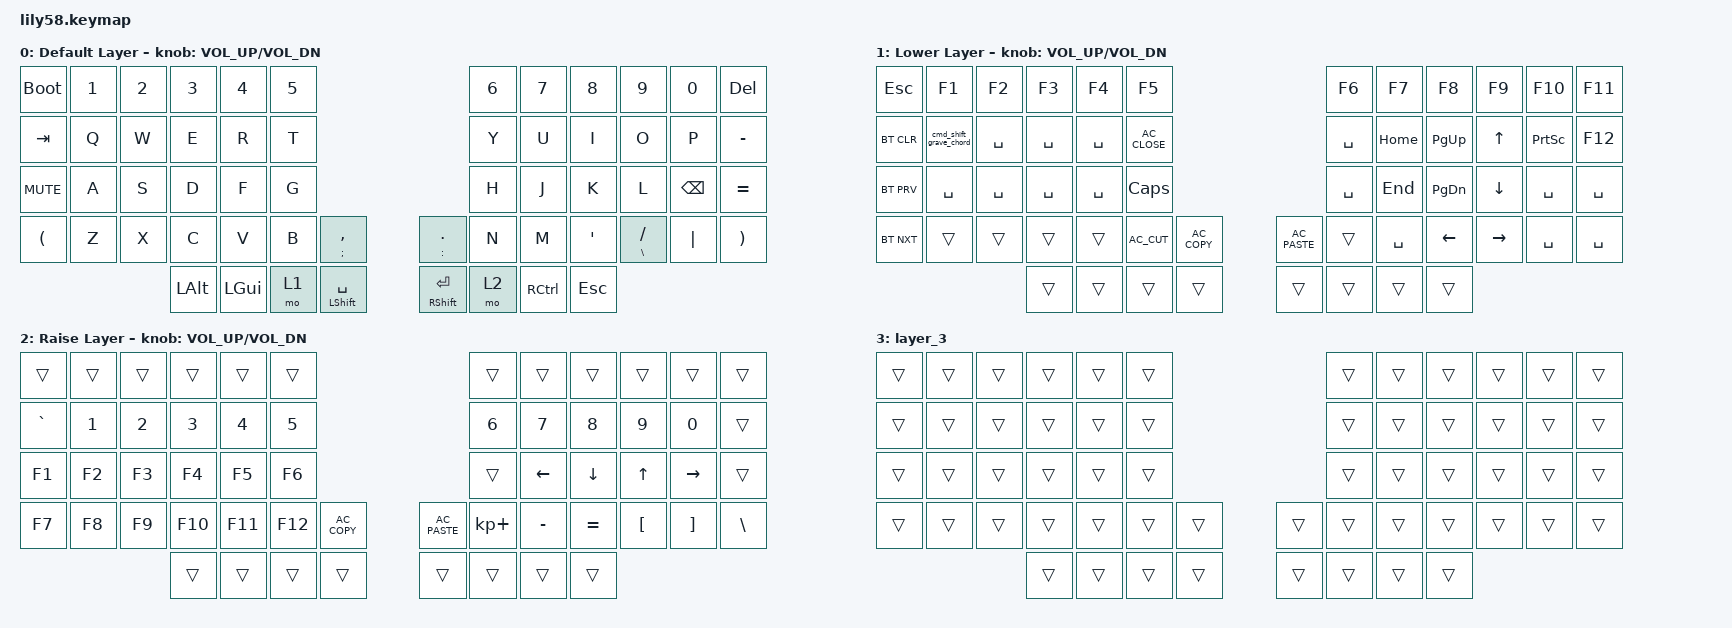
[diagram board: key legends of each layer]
/*
 * Copyright (c) 2020 The ZMK Contributors
 *
 * SPDX-License-Identifier: MIT
 */

#include <behaviors.dtsi>
#include <dt-bindings/zmk/bt.h>
#include <dt-bindings/zmk/keys.h>

/ {
    macros {
        cmd_shift_grave_chord: cmd_shift_grave_chord {
            compatible = "zmk,behavior-macro";
            #binding-cells = <0>;
            bindings = <&kp LS(LG(GRAVE))>;
            label = "CMD_SHIFT_GRAVE_CHORD";
        };
    };

    behaviors {
        cmd_shift_grave: cmd_shift_grave {
            compatible = "zmk,behavior-mod-morph";
            label = "CMD_SHIFT_GRAVE";
            bindings = <&kp GRAVE>, <&cmd_shift_grave_chord>;

            #binding-cells = <0>;
            mods = <(MOD_LGUI|MOD_LSFT)>;
        };
    };

    keymap {
        compatible = "zmk,keymap";

        default_layer {
            display-name = "Default Layer";

            // ------------------------------------------------------------------------------------------------------------
            // |  ESC  |  1  |  2  |  3   |  4   |  5   |                   |  6   |  7    |  8    |  9   |   0   |   `   |
            // |  TAB  |  Q  |  W  |  E   |  R   |  T   |                   |  Y   |  U    |  I    |  O   |   P   |   -   |
            // |  CTRL |  A  |  S  |  D   |  F   |  G   |                   |  H   |  J    |  K    |  L   |   ;   |   '   |
            // | SHIFT |  Z  |  X  |  C   |  V   |  B   |   "["  |  |  "]"  |  N   |  M    |  ,    |  .   |   /   | SHIFT |
            //                     | ALT  | GUI  | LOWER|  SPACE |  | ENTER | RAISE| BSPC  | GUI   |

            bindings = <
&bootloader           &kp N1  &kp N2  &kp N3    &kp N4    &kp N5                                               &kp N6  &kp N7     &kp N8            &kp N9               &kp N0         &kp DELETE
&kp TAB               &kp Q   &kp W   &kp E     &kp R     &kp T                                                &kp Y   &kp U      &kp I             &kp O                &kp P          &kp MINUS
&kp K_MUTE            &kp A   &kp S   &kp D     &kp F     &kp G                                                &kp H   &kp J      &kp K             &kp L                &kp BACKSPACE  &kp EQUAL
&kp LEFT_PARENTHESIS  &kp Z   &kp X   &kp C     &kp V     &kp B   &mt SEMICOLON COMMA     &mt COLON PERIOD     &kp N   &kp M      &kp SINGLE_QUOTE  &mt BACKSLASH SLASH  &kp PIPE       &kp RIGHT_PARENTHESIS
                                      &kp LALT  &kp LGUI  &mo 1   &mt LEFT_SHIFT SPACE    &mt RIGHT_SHIFT RET  &mo 2   &kp RCTRL  &kp ESCAPE
            >;

            sensor-bindings = <&inc_dec_kp C_VOL_UP C_VOL_DN>;
        };

        lower_layer {
            display-name = "Lower Layer";

            // ------------------------------------------------------------------------------------------------------------
            // | BTCLR | BT1 | BT2 |  BT3 |  BT4 |  BT5 |                   |      |       |       |      |       |       |
            // |  F1   |  F2 |  F3 |  F4  |  F5  |  F6  |                   |  F7  |  F8   |  F9   |  F10 |  F11  |  F12  |
            // |   `   |  !  |  @  |  #   |  $   |  %   |                   |  ^   |  &    |  *    |  (   |   )   |   ~   |
            // |       |     |     |      |      |      |        |  |       |      |  _    |  +    |  {   |   }   |  "|"  |
            //                     |      |      |      |        |  |       |      |       |       |

            bindings = <
&kp ESC     &kp F1                  &kp F2     &kp F3     &kp F4     &kp F5                                           &kp F6     &kp F7     &kp F8         &kp F9        &kp F10          &kp F11
&bt BT_CLR  &cmd_shift_grave_chord  &kp SPACE  &kp SPACE  &kp SPACE  &kp C_AC_CLOSE                                   &kp SPACE  &kp HOME   &kp PAGE_UP    &kp UP_ARROW  &kp PRINTSCREEN  &kp F12
&bt BT_PRV  &kp SPACE               &kp SPACE  &kp SPACE  &kp SPACE  &kp CAPSLOCK                                     &kp SPACE  &kp END    &kp PAGE_DOWN  &kp DOWN      &kp SPACE        &kp SPACE
&bt BT_NXT  &trans                  &trans     &trans     &trans     &kp C_AC_CUT    &kp C_AC_COPY    &kp C_AC_PASTE  &trans     &kp SPACE  &kp LEFT       &kp RIGHT     &kp SPACE        &kp SPACE
                                               &trans     &trans     &trans          &trans           &trans          &trans     &trans     &trans
            >;

            sensor-bindings = <&inc_dec_kp C_VOL_UP C_VOL_DN>;
        };

        raise_layer {
            display-name = "Raise Layer";

            // ------------------------------------------------------------------------------------------------------------
            // |       |     |     |      |      |      |                   |      |       |       |      |       |       |
            // |   `   |  1  |  2  |  3   |  4   |  5   |                   |  6   |   7   |   8   |  9   |   0   |       |
            // |   F1  |  F2 |  F3 |  F4  |  F5  |  F6  |                   |      |   <-  |   v   |  ^   |  ->   |       |
            // |   F7  |  F8 |  F9 |  F10 |  F11 |  F12 |        |  |       |  +   |   -   |   =   |  [   |   ]   |   \   |
            //                     |      |      |      |        |  |       |      |       |       |

            bindings = <
&trans     &trans  &trans  &trans   &trans   &trans                                    &trans       &trans     &trans     &trans    &trans     &trans
&kp GRAVE  &kp N1  &kp N2  &kp N3   &kp N4   &kp N5                                    &kp N6       &kp N7     &kp N8     &kp N9    &kp N0     &trans
&kp F1     &kp F2  &kp F3  &kp F4   &kp F5   &kp F6                                    &trans       &kp LEFT   &kp DOWN   &kp UP    &kp RIGHT  &trans
&kp F7     &kp F8  &kp F9  &kp F10  &kp F11  &kp F12  &kp C_AC_COPY    &kp C_AC_PASTE  &kp KP_PLUS  &kp MINUS  &kp EQUAL  &kp LBKT  &kp RBKT   &kp BSLH
                           &trans   &trans   &trans   &trans           &trans          &trans       &trans     &trans
            >;

            sensor-bindings = <&inc_dec_kp C_VOL_UP C_VOL_DN>;
        };

        layer_3 {
            bindings = <
&trans  &trans  &trans  &trans  &trans  &trans                    &trans  &trans  &trans  &trans  &trans  &trans
&trans  &trans  &trans  &trans  &trans  &trans                    &trans  &trans  &trans  &trans  &trans  &trans
&trans  &trans  &trans  &trans  &trans  &trans                    &trans  &trans  &trans  &trans  &trans  &trans
&trans  &trans  &trans  &trans  &trans  &trans  &trans    &trans  &trans  &trans  &trans  &trans  &trans  &trans
                        &trans  &trans  &trans  &trans    &trans  &trans  &trans  &trans
            >;
        };
    };
};
